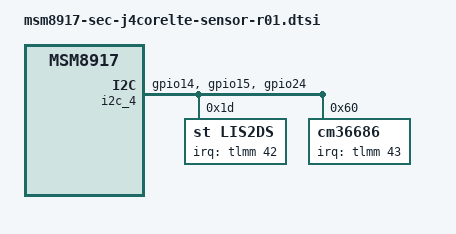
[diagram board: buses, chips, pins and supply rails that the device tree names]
/* Copyright (c) 2017, The Linux Foundation. All rights reserved.
 *
 * This program is free software; you can redistribute it and/or modify
 * it under the terms of the GNU General Public License version 2 and
 * only version 2 as published by the Free Software Foundation.
 *
 * This program is distributed in the hope that it will be useful,
 * but WITHOUT ANY WARRANTY; without even the implied warranty of
 * MERCHANTABILITY or FITNESS FOR A PARTICULAR PURPOSE.  See the
 * GNU General Public License for more details.
 */

&soc {
	tlmm: pinctrl@1000000 {
		i2c_4 {
			i2c_4_active: i2c_4_active {
				/* active state */
				mux {
					pins = "gpio14", "gpio15";
					function = "blsp_i2c4";
				};

				config {
					pins = "gpio14", "gpio15";
					bias-disable;
				};
			};

			i2c_4_sleep: i2c_4_sleep {
				/* suspended state */
				mux {
					pins = "gpio14", "gpio15";
					function = "blsp_i2c4";
				};

				config {
					pins = "gpio14", "gpio15";
					bias-disable;
				};
			};
		};

		sensor_ldo_en: sensor_ldo_en {
			mux {
				pins = "gpio24";
				function = "gpio";
			};
			config {
				pins = "gpio24";
				bias-disable;
				output-high;
			};
		};

		acc_int: acc_int {
			mux {
				pins = "gpio42";
				function = "gpio";
			};
			config {
				pins = "gpio42";
				bias-disable;
			};
		};

		prox_int: prox_int {
			mux {
				pins = "gpio43";
				function = "gpio";
			};
			config {
				pins = "gpio43";
				bias-disable;
			};
		};

		prox_ldo_en: prox_ldo_en {
			mux {
				pins = "gpio50";
				function = "gpio";
			};
			config {
				pins = "gpio50";
				bias-disable;
				output-high;
			};
		};

	};

	i2c_4: i2c@78b8000 { /* BLSP2 QUP2 */

		compatible = "qcom,i2c-msm-v2";
		#address-cells = <1>;
		#size-cells = <0>;
		reg-names = "qup_phys_addr";
		reg = <0x78b8000 0x600>;

		interrupt-names = "qup_irq";
		interrupts = <0 98 0>;

		qcom,clk-freq-out = <400000>;
		qcom,clk-freq-in  = <19200000>;
		clock-names = "iface_clk", "core_clk";
		clocks = <&clock_gcc clk_gcc_blsp1_ahb_clk>,

			<&clock_gcc clk_gcc_blsp1_qup4_i2c_apps_clk>;


		pinctrl-names = "i2c_active", "i2c_sleep";
		pinctrl-0 = <&i2c_4_active &sensor_ldo_en>;

		pinctrl-1 = <&i2c_4_sleep>;

		qcom,noise-rjct-scl = <0>;
		qcom,noise-rjct-sda = <0>;
		qcom,master-id = <86>;

		dmas = <&dma_blsp1 10 64 0x20000020 0x20>,

			<&dma_blsp1 11 32 0x20000020 0x20>;

		dma-names = "tx", "rx";
		status = "ok";

		lis2ds@1D {
			compatible = "st,lis2ds";
			reg = <0x1D>;
			pinctrl-names = "default";
			pinctrl-0 = <&acc_int>;
			interrupt-parent = <&tlmm>;
			interrupts = <42 0>;
			st,irq_gpio = <&tlmm 42 0>;
			st,orientation = <0 1 1 1 0 1 1 1 0>;
		};

		cm36686@60 {
			compatible = "cm36686";
			reg = <0x60>;
			pinctrl-names = "default";
			pinctrl-0 = <&prox_int &prox_ldo_en>;
			interrupt-parent = <&tlmm>;
			interrupts = <43 0>;

			cm36686,irq_gpio = <&tlmm 43 0>;

			cm36686,default_hi_thd = <15>;
			cm36686,default_low_thd = <9>;
			cm36686,cancel_hi_thd = <12>;
			cm36686,cancel_low_thd = <7>;
			cm36686,cal_skip_adc = <6>;
			cm36686,cal_fail_adc = <20>;
		    cm36686,default_trim = <3>;
		};
	};
};
